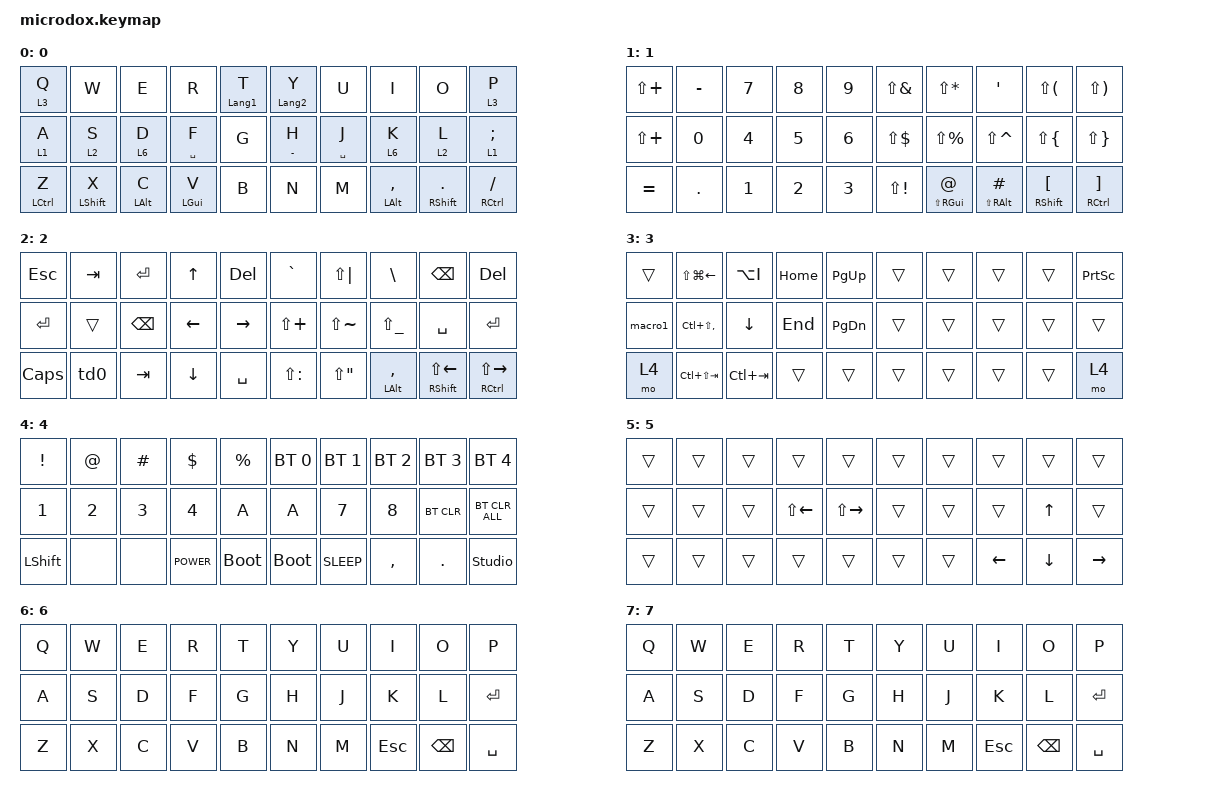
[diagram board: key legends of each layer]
#include <behaviors.dtsi>
#include <dt-bindings/zmk/bt.h>
#include <dt-bindings/zmk/keys.h>

#define ZERO 0
#define ICHI 1
#define NI 2
#define SAN 3
#define SI 4
#define GO 5
#define ROKU 6

// Behavior Overrides

&lt {
    tapping-term-ms = <200>;
    flavor = "hold-preferred";
};

/ {
    behaviors {
        td0: tap_dance_0 {
            compatible = "zmk,behavior-tap-dance";
            #binding-cells = <0>;
            tapping-term-ms = <200>;
            bindings = <&kp N1>, <&kp N2>, <&kp N3>;
        };
    };

    combos {
        compatible = "zmk,combos";

        f1 {
            bindings = <&kp F1>;
            key-positions = <0 10>;
        };

        f2 {
            bindings = <&kp F2>;
            key-positions = <1 11>;
        };

        f3 {
            bindings = <&kp F3>;
            key-positions = <2 12>;
        };

        f4 {
            bindings = <&kp F4>;
            key-positions = <3 13>;
        };

        f5 {
            bindings = <&kp F5>;
            key-positions = <4 24>;
        };

        f6 {
            bindings = <&kp F6>;
            key-positions = <5 25>;
        };

        f7 {
            bindings = <&kp F7>;
            key-positions = <6 16>;
        };

        f8 {
            bindings = <&kp F8>;
            key-positions = <7 17>;
        };

        f9 {
            bindings = <&kp F9>;
            key-positions = <8 18>;
        };

        f10 {
            bindings = <&kp F10>;
            key-positions = <9 19>;
        };

        f11 {
            bindings = <&kp F11>;
            key-positions = <0 20>;
        };

        esc {
            bindings = <&kp ESC>;
            key-positions = <0 1>;
        };

        moodoru {
            bindings = <&kp LA(LEFT)>;
            key-positions = <11 21>;
        };

        susumu {
            bindings = <&kp LA(RIGHT)>;
            key-positions = <12 22>;
        };

        stop {
            bindings = <&kp C_PLAY_PAUSE>;
            key-positions = <13 23>;
        };

        enter {
            bindings = <&kp ENTER>;
            key-positions = <11 12>;
        };

        mainasu {
            bindings = <&kp MINUS>;
            key-positions = <8 9>;
        };

        layer5 {
            bindings = <&tog 5>;
            key-positions = <24 25>;
        };

        layer6 {
            bindings = <&tog 6>;
            key-positions = <23 26>;
        };
    };

    macros {
        macro1: macro1 {
            compatible = "zmk,behavior-macro";
            #binding-cells = <0>;
            bindings =
                <&kp LC(LS(LEFT_BRACKET))>,
                <&macro_wait_time 200>,
                <&kp RIGHT>,
                <&macro_wait_time 200>,
                <&kp LC(V)>;

            label = "MACRO1";
        };
    };

    keymap {
        compatible = "zmk,keymap";

        layer_0 {
            display-name = "0";
            bindings = <
&lt 3 Q      &kp W        &kp E           &kp R           &mt LANGUAGE_1 T    &mt LANGUAGE_2 Y  &kp U        &kp I               &kp O              &lt 3 P
&lt 1 A      &lt 2 S      &lt 6 D         &mt SPACE F     &kp G               &mt MINUS H       &mt SPACE J  &lt 6 K             &lt 2 L            &lt 1 SEMICOLON
&mt LCTRL Z  &mt LSHFT X  &mt LEFT_ALT C  &mt LEFT_GUI V  &kp B               &kp N             &kp M        &mt LEFT_ALT COMMA  &mt RSHIFT PERIOD  &mt RCTRL SLASH
            >;
        };

        layer_1 {
            display-name = "1";
            bindings = <
&kp LS(PLUS)  &kp MINUS  &kp N7  &kp N8  &kp N9    &kp LS(AMPS)  &kp LS(STAR)          &kp SQT            &kp LS(LPAR)     &kp LS(RPAR)
&kp LS(PLUS)  &kp N0     &kp N4  &kp N5  &kp N6    &kp LS(DLLR)  &kp LS(PRCNT)         &kp LS(CARET)      &kp LS(LBRC)     &kp LS(RBRC)
&kp EQUAL     &kp DOT    &kp N1  &kp N2  &kp N3    &kp LS(EXCL)  &mt LS(RGUI) AT_SIGN  &mt LS(RALT) HASH  &mt RSHIFT LBKT  &mt RCTRL RBKT
            >;
        };

        layer_2 {
            display-name = "2";
            bindings = <
&kp ESC    &kp TAB  &kp ENTER  &kp UP    &kp DEL      &kp GRAVE      &kp LS(PIPE)   &kp BSLH            &kp BSPC             &kp DEL
&kp ENTER  &trans   &kp BSPC   &kp LEFT  &kp RIGHT    &kp LS(PLUS)   &kp LS(TILDE)  &kp LS(UNDER)       &kp SPACE            &kp ENTER
&kp CLCK   &td0     &kp TAB    &kp DOWN  &kp SPACE    &kp LS(COLON)  &kp LS(DQT)    &mt LEFT_ALT COMMA  &mt RSHIFT LS(LEFT)  &mt RCTRL LS(RIGHT)
            >;
        };

        layer_3 {
            display-name = "3";
            bindings = <
&trans   &kp LS(LG(LEFT))   &kp LA(I)    &kp HOME  &kp PAGE_UP      &trans  &trans  &trans  &trans  &kp PRINTSCREEN
&macro1  &kp LC(LS(COMMA))  &kp DOWN     &kp END   &kp PAGE_DOWN    &trans  &trans  &trans  &trans  &trans
&mo 4    &kp LC(LS(TAB))    &kp LC(TAB)  &trans    &trans           &trans  &trans  &trans  &trans  &mo 4
            >;
        };

        layer_4 {
            display-name = "4";
            bindings = <
&kp EXCL   &kp AT  &kp HASH  &kp DLLR     &kp PRCNT      &bt BT_SEL 0  &bt BT_SEL 1  &bt BT_SEL 2  &bt BT_SEL 3  &bt BT_SEL 4
&kp N1     &kp N2  &kp N3    &kp N4       &kp A          &kp A         &kp N7        &kp N8        &bt BT_CLR    &bt BT_CLR_ALL
&kp LSHFT  &none   &none     &kp C_POWER  &bootloader    &bootloader   &kp C_SLEEP   &kp COMMA     &kp DOT       &studio_unlock
            >;
        };

        layer_5 {
            display-name = "5";
            bindings = <
&trans  &trans  &trans  &trans        &trans           &trans  &trans  &trans    &trans    &trans
&trans  &trans  &trans  &kp LS(LEFT)  &kp LS(RIGHT)    &trans  &trans  &trans    &kp UP    &trans
&trans  &trans  &trans  &trans        &trans           &trans  &trans  &kp LEFT  &kp DOWN  &kp RIGHT
            >;
        };

        layer_6 {
            display-name = "6";
            bindings = <
&kp Q  &kp W  &kp E  &kp R  &kp T    &kp Y  &kp U  &kp I    &kp O     &kp P
&kp A  &kp S  &kp D  &kp F  &kp G    &kp H  &kp J  &kp K    &kp L     &kp RET
&kp Z  &kp X  &kp C  &kp V  &kp B    &kp N  &kp M  &kp ESC  &kp BSPC  &kp SPACE
            >;
        };

        layer_7 {
            display-name = "7";
            bindings = <
&kp Q  &kp W  &kp E  &kp R  &kp T    &kp Y  &kp U  &kp I    &kp O     &kp P
&kp A  &kp S  &kp D  &kp F  &kp G    &kp H  &kp J  &kp K    &kp L     &kp RET
&kp Z  &kp X  &kp C  &kp V  &kp B    &kp N  &kp M  &kp ESC  &kp BSPC  &kp SPACE
            >;
        };
    };
};
